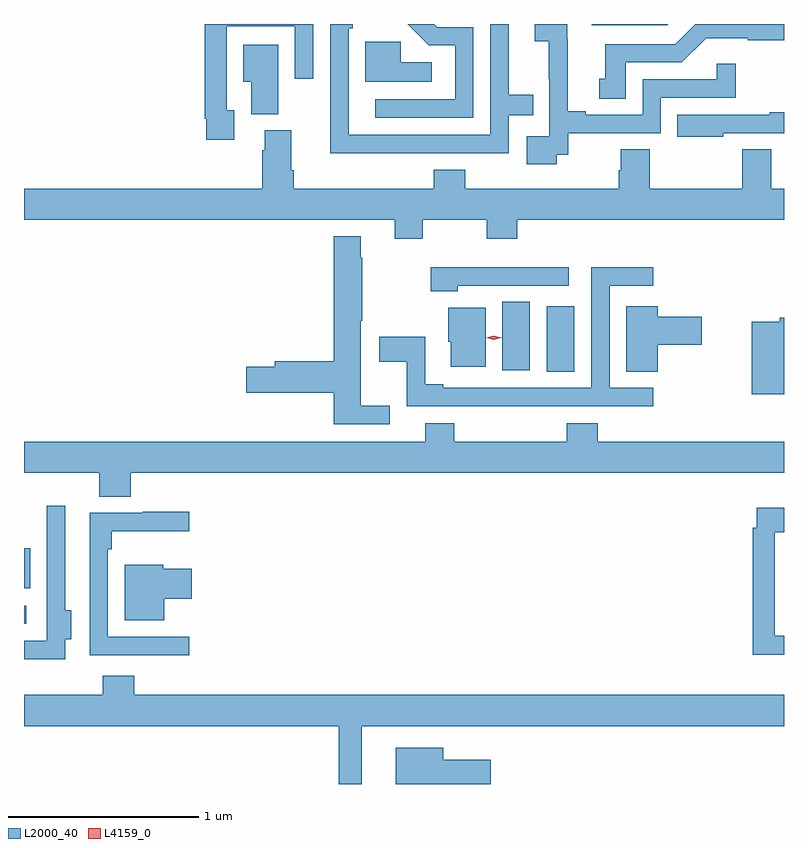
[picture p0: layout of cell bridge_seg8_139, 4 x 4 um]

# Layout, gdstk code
import gdstk
lib = gdstk.Library(unit=1e-6, precision=1e-09)
def R(c, l, rs):  # rectangles x0, y0, x1, y1
    for r in rs: c.add(gdstk.rectangle(r[:2], r[2:], *l))
def P(c, l, *ps):  # polygons
    for p in ps: c.add(gdstk.Polygon(p, *l))
L2000_40 = (2000, 40)
L4159_0 = (4159, 0)

bridge_seg8_139 = lib.new_cell('bridge_seg8_139')
R(bridge_seg8_139, L2000_40, [(395.045,1156.998,395.056,1157.094), (395.045,1157.186,395.077,1157.397), (397.796,1158.325,397.942,1158.67), (397.562,1158.333,397.708,1158.692)])
P(bridge_seg8_139, L2000_40, [(398.212,1159.953),(398.508,1159.953),(398.636,1160.081),(398.855,1160.081),(398.855,1160.07),(399.045,1160.07),(399.045,1160.155),(398.578,1160.155),(398.472,1160.049),(398.105,1160.049),(398.105,1159.866),(398.072,1159.866),(398.072,1159.762),(398.212,1159.762)],
  [(397.848,1159.467),(397.91,1159.467),(397.91,1159.581),(398.397,1159.581),(398.397,1159.767),(398.792,1159.767),(398.792,1159.945),(398.691,1159.945),(398.691,1159.863),(398.301,1159.863),(398.301,1159.677),(398.002,1159.677),(398.002,1159.697),(397.906,1159.697),(397.906,1160.075),(397.904,1160.075),(397.904,1160.155),(397.734,1160.155),(397.734,1160.065),(397.808,1160.065),(397.808,1159.867),(397.809,1159.867),(397.809,1159.563),(397.692,1159.563),(397.692,1159.416),(397.848,1159.416)],
  [(396.151,1159.701),(396.111,1159.701),(396.111,1160.142),(396.471,1160.142),(396.471,1159.866),(396.567,1159.866),(396.567,1160.155),(395.995,1160.155),(395.995,1159.657),(396.003,1159.657),(396.003,1159.545),(396.151,1159.545)],
  [(397.41,1160.139),(397.221,1160.139),(397.205,1160.155),(396.921,1160.155),(396.921,1160.154),(397.065,1160.154),(397.176,1160.043),(397.314,1160.043),(397.314,1159.758),(396.894,1159.758),(396.894,1159.662),(397.41,1159.662)],
  [(397.118,1159.476),(397.596,1159.476),(397.596,1159.674),(397.724,1159.674),(397.724,1159.783),(397.597,1159.783),(397.597,1160.155),(397.5,1160.155),(397.5,1159.572),(396.753,1159.572),(396.753,1160.133),(396.775,1160.133),(396.775,1160.155),(396.657,1160.155),(396.657,1159.778),(396.656,1159.778),(396.656,1159.475),(397.118,1159.475)],
  [(398.437,1160.155),(398.034,1160.155),(398.034,1160.148),(398.43,1160.148)],
  [(397.192,1159.954),(397.029,1159.954),(397.029,1160.061),(396.842,1160.061),(396.842,1159.85),(397.192,1159.85)],
  [(396.382,1160.047),(396.2,1160.047),(396.2,1159.85),(396.242,1159.85),(396.242,1159.681),(396.382,1159.681)],
  [(398.725,1159.581),(399.045,1159.581),(399.045,1159.69),(398.969,1159.69),(398.969,1159.677),(398.482,1159.677),(398.482,1159.562),(398.725,1159.562)],
  [(397.143,1159.124),(397.48,1159.124),(397.48,1159.025),(397.64,1159.025),(397.64,1159.124),(399.045,1159.124),(399.045,1159.288),(398.977,1159.288),(398.977,1159.496),(398.825,1159.496),(398.825,1159.288),(398.339,1159.288),(398.339,1159.496),(398.186,1159.496),(398.186,1159.386),(398.174,1159.386),(398.174,1159.288),(397.367,1159.288),(397.367,1159.387),(397.202,1159.387),(397.202,1159.288),(396.464,1159.288),(396.464,1159.384),(396.451,1159.384),(396.451,1159.596),(396.311,1159.596),(396.311,1159.49),(396.299,1159.49),(396.299,1159.288),(395.045,1159.288),(395.045,1159.124),(396.995,1159.124),(396.995,1159.025),(397.143,1159.025)],
  [(396.97,1158.147),(396.817,1158.147),(396.817,1158.592),(396.825,1158.592),(396.825,1158.926),(396.817,1158.926),(396.817,1159.039),(396.674,1159.039),(396.674,1158.38),(396.365,1158.38),(396.365,1158.35),(396.216,1158.35),(396.216,1158.215),(396.674,1158.215),(396.674,1158.048),(396.97,1158.048)],
  [(397.817,1158.144),(398.134,1158.144),(398.134,1158.143),(398.356,1158.143),(398.356,1158.24),(398.127,1158.24),(398.127,1158.777),(398.356,1158.777),(398.356,1158.876),(398.031,1158.876),(398.031,1158.24),(397.252,1158.24),(397.252,1158.26),(397.156,1158.26),(397.156,1158.509),(396.915,1158.509),(396.915,1158.377),(397.059,1158.377),(397.059,1158.144),(397.393,1158.144),(397.393,1158.143),(397.817,1158.143)],
  [(397.329,1158.777),(397.912,1158.777),(397.912,1158.874),(397.185,1158.874),(397.185,1158.749),(397.329,1158.749)],
  [(398.381,1158.467),(398.611,1158.467),(398.611,1158.614),(398.381,1158.614),(398.381,1158.67),(398.216,1158.67),(398.216,1158.325),(398.381,1158.325)],
  [(397.474,1158.661),(397.277,1158.661),(397.277,1158.483),(397.292,1158.483),(397.292,1158.35),(397.474,1158.35)],
  [(399.045,1158.608),(399.022,1158.608),(399.022,1158.588),(398.876,1158.588),(398.876,1158.207),(399.045,1158.207)],
  [(395.606,1157.792),(399.045,1157.792),(399.045,1157.956),(398.066,1157.956),(398.066,1158.055),(397.901,1158.055),(397.901,1157.956),(397.31,1157.956),(397.31,1158.055),(397.157,1158.055),(397.157,1157.956),(395.045,1157.956),(395.045,1157.792),(395.441,1157.792),(395.441,1157.668),(395.606,1157.668)],
  [(395.262,1156.916),(395.293,1156.916),(395.293,1157.069),(395.262,1157.069),(395.262,1157.62),(395.166,1157.62),(395.166,1156.908),(395.045,1156.908),(395.045,1156.811),(395.262,1156.811)],
  [(399.045,1156.936),(398.997,1156.936),(398.997,1157.48),(399.045,1157.48),(399.045,1157.608),(398.901,1157.608),(398.901,1157.504),(398.881,1157.504),(398.881,1156.835),(399.045,1156.835)],
  [(395.914,1156.929),(395.487,1156.929),(395.487,1157.39),(395.507,1157.39),(395.507,1157.486),(395.914,1157.486),(395.914,1157.587),(395.669,1157.587),(395.669,1157.583),(395.391,1157.583),(395.391,1156.833),(395.914,1156.833)],
  [(395.782,1157.129),(395.929,1157.129),(395.929,1157.287),(395.778,1157.287),(395.778,1157.308),(395.576,1157.308),(395.576,1157.018),(395.782,1157.018)],
  [(396.823,1156.46),(399.045,1156.46),(399.045,1156.624),(395.624,1156.624),(395.624,1156.726),(395.459,1156.726),(395.459,1156.624),(395.045,1156.624),(395.045,1156.46),(396.702,1156.46),(396.702,1156.155),(396.823,1156.155)],
  [(397.501,1156.282),(397.252,1156.282),(397.252,1156.345),(397.001,1156.345),(397.001,1156.155),(397.501,1156.155)])
P(bridge_seg8_139, L4159_0, [(397.518,1158.494),(397.478,1158.504),(397.478,1158.504),(397.478,1158.504),(397.518,1158.514),(397.558,1158.504),(397.559,1158.504),(397.558,1158.504)])

lib.write_gds('bridge_seg8_139.gds')
